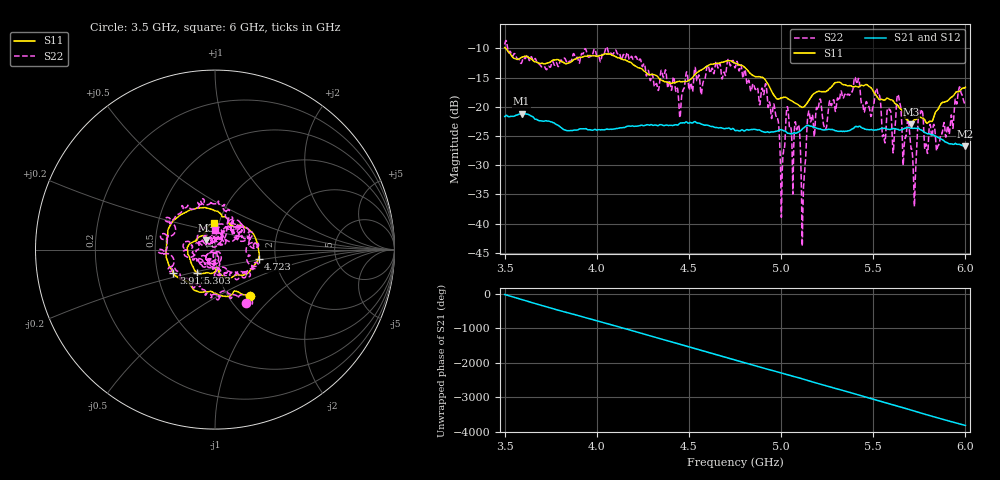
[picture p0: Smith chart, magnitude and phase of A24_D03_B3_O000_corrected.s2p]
! Created with skrf 1.9.0 (http://scikit-rf.org).
# Hz S RI R 50.0
!freq ReS11 ImS11 ReS21 ImS21 ReS12 ImS12 ReS22 ImS22
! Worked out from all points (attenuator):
!   1601 points, 3.5 GHz to 6 GHz, reference 50 ohm
!   highest |S21| = -21.16 dB at 3.592 GHz (marker M1); lowest = -26.8 dB at 6 GHz (marker M2)
!   lowest |S11| = -23.0 dB at 5.705 GHz (marker M3), VSWR 1.15, Z = 45.2 + j4.76 ohm
!   |S11| at or under -10 dB: 3.506 GHz to end of sweep
!   |S22| runs from -43.9 to -8.6 dB; largest |S21 - S12| = 0.00094
!   S11 on the Smith chart (normalised r, x): 3.5 GHz: 1.26, -0.72; 3.913 GHz: 0.61, -0.17; 4.723 GHz: 1.63, -0.18; 5.303 GHz: 0.80, -0.21; 6 GHz: 0.94, +0.28
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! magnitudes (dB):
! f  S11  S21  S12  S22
! 3.5 GHz  -9.8  -21.6  -21.6  -9.3
! 3.592 GHz  -11.5  -21.2  -21.2  -12.5
! 3.913 GHz  -11.5  -23.7  -23.7  -11.4
! 3.917 GHz  -11.5  -23.8  -23.8  -10.9
! 4.334 GHz  -15.0  -23.2  -23.1  -17.2
! 4.723 GHz  -12.1  -23.8  -23.7  -12.9
! 4.75 GHz  -12.5  -24.1  -24.0  -13.3
! 4.969 GHz  -18.3  -24.2  -24.2  -21.1
! 5.006 GHz  -18.5  -24.0  -23.9  -31.0
! 5.034 GHz  -18.6  -24.5  -24.4  -20.0
! 5.088 GHz  -19.5  -24.4  -24.4  -23.7
! 5.119 GHz  -20.1  -23.7  -23.6  -37.1
! 5.145 GHz  -19.2  -23.2  -23.1  -21.5
! 5.167 GHz  -18.1  -23.3  -23.3  -21.5
! 5.303 GHz  -15.8  -24.1  -24.1  -19.0
! 5.409 GHz  -16.5  -23.4  -23.3  -15.8
! 5.584 GHz  -18.6  -23.8  -23.8  -20.3
! 5.705 GHz  -23.0  -23.7  -23.6  -26.9
! 5.723 GHz  -22.2  -23.7  -23.6  -37.1
! 5.756 GHz  -21.8  -23.9  -23.8  -21.2
! 5.852 GHz  -20.4  -25.2  -25.2  -26.7
! 6 GHz  -16.7  -26.8  -26.7  -19.4
